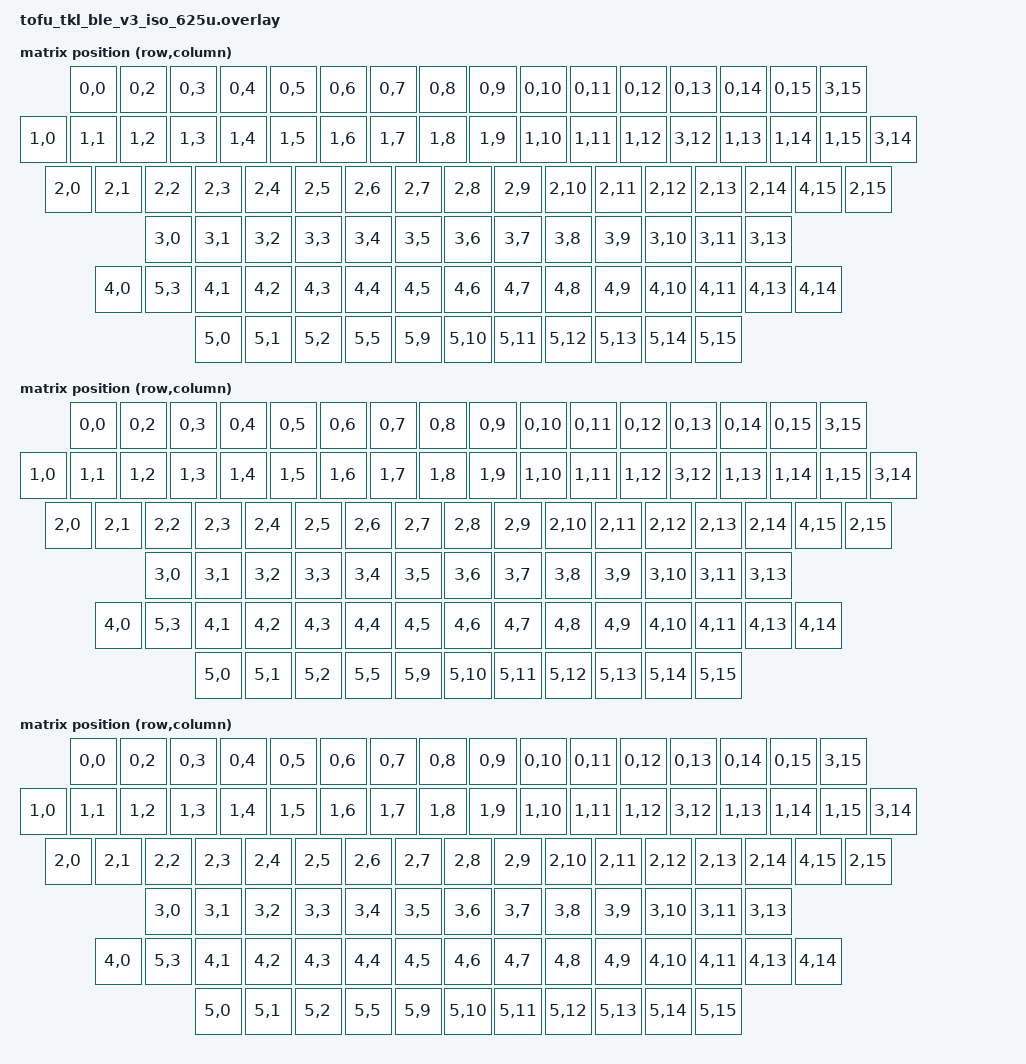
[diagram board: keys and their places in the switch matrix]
#include <dt-bindings/zmk/matrix_transform.h>
#include <physical_layouts.dtsi>
#include "common.overlay"

#define _RC(x, y)
#define N(x) (89-x)
/ {
    matrix_transform_0: matrix_transform_0 {
        compatible = "zmk,matrix-transform";
        rows = <5>; columns = <14>;
        map = <
RC(0,0)         RC(0,2) RC(0,3) RC(0,4) RC(0,5)     RC(0,6) RC(0,7) RC(0,8) RC(0,9)     RC(0,10) RC(0,11) RC(0,12) RC(0,13)      RC(0,14) RC(0,15) RC(3,15)
RC(1,0) RC(1,1) RC(1,2) RC(1,3) RC(1,4) RC(1,5) RC(1,6) RC(1,7) RC(1,8) RC(1,9) RC(1,10) RC(1,11) RC(1,12) _RC(3,12) RC(1,13)    RC(1,14) RC(1,15) RC(3,14)
RC(2,0)   RC(2,1) RC(2,2) RC(2,3) RC(2,4) RC(2,5) RC(2,6) RC(2,7) RC(2,8) RC(2,9) RC(2,10) RC(2,11) RC(2,12)   RC(2,13)          RC(2,14) RC(4,15) RC(2,15) 
RC(3,0)     RC(3,1) RC(3,2) RC(3,3) RC(3,4) RC(3,5) RC(3,6) RC(3,7) RC(3,8) RC(3,9) RC(3,10) RC(3,11)        RC(3,13)
RC(4,0)   RC(5,3)   RC(4,1) RC(4,2) RC(4,3) RC(4,4) RC(4,5) RC(4,6) RC(4,7) RC(4,8) RC(4,9)    RC(4,10)      RC(4,11) _RC(4,13)            RC(4,14)
RC(5,0)   RC(5,1)   RC(5,2)                      RC(5,5)                           RC(5,9)    RC(5,10)   RC(5,11)   RC(5,12)     RC(5,13) RC(5,14) RC(5,15)
        >;
    };

    layout0: layout0 {
        compatible = "zmk,physical-layout";
        display-name = "ISO(6.25U)_BS(2U)_RSFT(2.75U)";
        transform = <&matrix_transform_0>;

        keys =    ROWF0_FIXED , ROW0_BS_2U
                , ROW1_FIXED , ROW1_ISO
                , ROW2_FIXED , ROW2_ISO //Enter
                , ROW3_ISO  , ROW3_FIXED , ROW3_RSFT_275U, ROW3_FIXED2
                , SPC_625U, ROW4_FIXED;
    };

    matrix_transform_1: matrix_transform_1 {
        compatible = "zmk,matrix-transform";
        rows = <5>; columns = <14>;
        map = <
RC(0,0)         RC(0,2) RC(0,3) RC(0,4) RC(0,5)     RC(0,6) RC(0,7) RC(0,8) RC(0,9)     RC(0,10) RC(0,11) RC(0,12) RC(0,13)      RC(0,14) RC(0,15) RC(3,15)
RC(1,0) RC(1,1) RC(1,2) RC(1,3) RC(1,4) RC(1,5) RC(1,6) RC(1,7) RC(1,8) RC(1,9) RC(1,10) RC(1,11) RC(1,12) RC(3,12) RC(1,13)    RC(1,14) RC(1,15) RC(3,14)
RC(2,0)   RC(2,1) RC(2,2) RC(2,3) RC(2,4) RC(2,5) RC(2,6) RC(2,7) RC(2,8) RC(2,9) RC(2,10) RC(2,11) RC(2,12)   RC(2,13)          RC(2,14) RC(4,15) RC(2,15) 
RC(3,0)     RC(3,1) RC(3,2) RC(3,3) RC(3,4) RC(3,5) RC(3,6) RC(3,7) RC(3,8) RC(3,9) RC(3,10) RC(3,11)        RC(3,13)
RC(4,0)   RC(5,3)   RC(4,1) RC(4,2) RC(4,3) RC(4,4) RC(4,5) RC(4,6) RC(4,7) RC(4,8) RC(4,9)    RC(4,10)      RC(4,11) _RC(4,13)            RC(4,14)
RC(5,0)   RC(5,1)   RC(5,2)                      RC(5,5)                           RC(5,9)    RC(5,10)   RC(5,11)   RC(5,12)     RC(5,13) RC(5,14) RC(5,15)
        >;
    };

    layout1: layout1 {
        compatible = "zmk,physical-layout";
        display-name = "ISO(6.25U)_BS(1U)_RSFT(2.75U)";
        transform = <&matrix_transform_1>;

        keys =    ROWF0_FIXED , ROW0_BS_1U
                , ROW1_FIXED , ROW1_ISO
                , ROW2_FIXED , ROW2_ISO //Enter
                , ROW3_ISO  , ROW3_FIXED , ROW3_RSFT_275U, ROW3_FIXED2
                , SPC_625U, ROW4_FIXED;
    };

    matrix_transform_2: matrix_transform_2 {
        compatible = "zmk,matrix-transform";
        rows = <5>; columns = <14>;
        map = <
RC(0,0)         RC(0,2) RC(0,3) RC(0,4) RC(0,5)     RC(0,6) RC(0,7) RC(0,8) RC(0,9)     RC(0,10) RC(0,11) RC(0,12) RC(0,13)      RC(0,14) RC(0,15) RC(3,15)
RC(1,0) RC(1,1) RC(1,2) RC(1,3) RC(1,4) RC(1,5) RC(1,6) RC(1,7) RC(1,8) RC(1,9) RC(1,10) RC(1,11) RC(1,12) _RC(3,12) RC(1,13)    RC(1,14) RC(1,15) RC(3,14)
RC(2,0)   RC(2,1) RC(2,2) RC(2,3) RC(2,4) RC(2,5) RC(2,6) RC(2,7) RC(2,8) RC(2,9) RC(2,10) RC(2,11) RC(2,12)   RC(2,13)          RC(2,14) RC(4,15) RC(2,15) 
RC(3,0)     RC(3,1) RC(3,2) RC(3,3) RC(3,4) RC(3,5) RC(3,6) RC(3,7) RC(3,8) RC(3,9) RC(3,10) RC(3,11)        RC(3,13)
RC(4,0)   RC(5,3)   RC(4,1) RC(4,2) RC(4,3) RC(4,4) RC(4,5) RC(4,6) RC(4,7) RC(4,8) RC(4,9)    RC(4,10)      RC(4,11) RC(4,13)            RC(4,14)
RC(5,0)   RC(5,1)   RC(5,2)                      RC(5,5)                           RC(5,9)    RC(5,10)   RC(5,11)   RC(5,12)     RC(5,13) RC(5,14) RC(5,15)
        >;
    };

    layout2: layout2 {
        compatible = "zmk,physical-layout";
        display-name = "ISO(6.25U)_BS(2U)_RSFT(1.75U)";
        transform = <&matrix_transform_2>;

        keys =    ROWF0_FIXED , ROW0_BS_2U
                , ROW1_FIXED , ROW1_ISO
                , ROW2_FIXED , ROW2_ISO //Enter
                , ROW3_ISO  , ROW3_FIXED , ROW3_RSFT_175U, ROW3_FIXED2
                , SPC_625U, ROW4_FIXED;
    };

    matrix_transform_3: matrix_transform_3 {
        compatible = "zmk,matrix-transform";
        rows = <5>; columns = <14>;
        map = <
RC(0,0)         RC(0,2) RC(0,3) RC(0,4) RC(0,5)     RC(0,6) RC(0,7) RC(0,8) RC(0,9)     RC(0,10) RC(0,11) RC(0,12) RC(0,13)      RC(0,14) RC(0,15) RC(3,15)
RC(1,0) RC(1,1) RC(1,2) RC(1,3) RC(1,4) RC(1,5) RC(1,6) RC(1,7) RC(1,8) RC(1,9) RC(1,10) RC(1,11) RC(1,12) RC(3,12) RC(1,13)     RC(1,14) RC(1,15) RC(3,14)
RC(2,0)   RC(2,1) RC(2,2) RC(2,3) RC(2,4) RC(2,5) RC(2,6) RC(2,7) RC(2,8) RC(2,9) RC(2,10) RC(2,11) RC(2,12)   RC(2,13)          RC(2,14) RC(4,15) RC(2,15) 
RC(3,0)     RC(3,1) RC(3,2) RC(3,3) RC(3,4) RC(3,5) RC(3,6) RC(3,7) RC(3,8) RC(3,9) RC(3,10) RC(3,11)        RC(3,13)
RC(4,0)   RC(5,3)   RC(4,1) RC(4,2) RC(4,3) RC(4,4) RC(4,5) RC(4,6) RC(4,7) RC(4,8) RC(4,9)    RC(4,10)      RC(4,11) RC(4,13)            RC(4,14)
RC(5,0)   RC(5,1)   RC(5,2)                      RC(5,5)                           RC(5,9)    RC(5,10)   RC(5,11)   RC(5,12)     RC(5,13) RC(5,14) RC(5,15)
        >;
    };

    layout3: layout3 {
        compatible = "zmk,physical-layout";
        display-name = "ISO(6.25U)_BS(1U)_RSFT(1.75U)";
        transform = <&matrix_transform_3>;

        keys =    ROWF0_FIXED , ROW0_BS_1U
                , ROW1_FIXED , ROW1_ISO
                , ROW2_FIXED , ROW2_ISO //Enter
                , ROW3_ISO  , ROW3_FIXED , ROW3_RSFT_175U, ROW3_FIXED2
                , SPC_625U, ROW4_FIXED;
    };


    layouts_this_position_map {
        compatible = "zmk,physical-layout-position-map";
        complete;

        position_map_all: position_map_all {
            physical-layout = <&layout_all>;
            positions
                = < 0     1  2  3  4   5  6  7  8    9 10 11 12     13 14 15>
                , <16 17 18 19 20 21 22 23 24 25 26 27 28 29 30     31 32 33>
                , <34  35 36 37 38 39 40 41 42 43 44 45 46 47       48 49 50>
                , < 51  52 53 54 55 56 57 58 59 60 61 62  63                >
                , <64 65 66 67 68 69 70 71 72 73 74 75   76  77        78   >
                , <79  80  81       82          83  84  85  86      87 88 89>;
        };
        //ansi, bs: 2u, rshift: 2.75u
        position_map0: position_map0 {
            physical-layout = <&layout0>;
            positions
                = < 0     1  2  3  4   5  6  7  8    9 10 11 12     13 14 15>
                , <16 17 18 19 20 21 22 23 24 25 26 27 28 N(0) 29   30 31 32>
                , <33  34 35 36 37 38 39 40 41 42 43 44 45  46      47 48 49>
                , < 50  51 52 53 54 55 56 57 58 59 60 61  62                >
                , <63  64 65 66 67 68 69 70 71 72 73 74  75 N(1)       76   >
                , <77  78  79       80          81  82  83  84      85 86 87>;
        };
        //ansi, bs: 1u, rshift: 2.75u
        position_map1: position_map1 {
            physical-layout = <&layout1>;
            positions
                = < 0     1  2  3  4   5  6  7  8    9 10 11 12     13 14 15>
                , <16 17 18 19 20 21 22 23 24 25 26 27 28 29 30     31 32 33>
                , <34  35 36 37 38 39 40 41 42 43 44 45 46 47       48 49 50>
                , < 51  52 53 54 55 56 57 58 59 60 61 62  63                >
                , <64  65 66 67 68 69 70 71 72 73 74 75  76  N(0)      77   >
                , <78  79  80       81          82  83  84  85      86 87 88>;
        };
        //ansi, bs: 2u, rshift: 1.75u
        position_map2: position_map2 {
            physical-layout = <&layout2>;
            positions
                = < 0     1  2  3  4   5  6  7  8    9 10 11 12     13 14 15>
                , <16 17 18 19 20 21 22 23 24 25 26 27 28 N(0) 29   30 31 32>
                , <33  34 35 36 37 38 39 40 41 42 43 44 45  46      47 48 49>
                , < 50  51 52 53 54 55 56 57 58 59 60 61  62                >
                , <63  64 65 66 67 68 69 70 71 72 73 74  75 76         77   >
                , <78  79  80       81          82  83  84  85      86 87 88>;
        };
        //ansi, bs: 1u, rshift: 1.75u
        position_map3: position_map3 {
            physical-layout = <&layout3>;
            positions
                = < 0     1  2  3  4   5  6  7  8    9 10 11 12     13 14 15>
                , <16 17 18 19 20 21 22 23 24 25 26 27 28 29 30     31 32 33>
                , <34  35 36 37 38 39 40 41 42 43 44 45 46 47       48 49 50>
                , < 51  52 53 54 55 56 57 58 59 60 61 62  63                >
                , <64 65 66 67 68 69 70 71 72 73 74 75   76  77        78   >
                , <79  80  81       82          83  84  85  86      87 88 89>;
        };
    };
};
